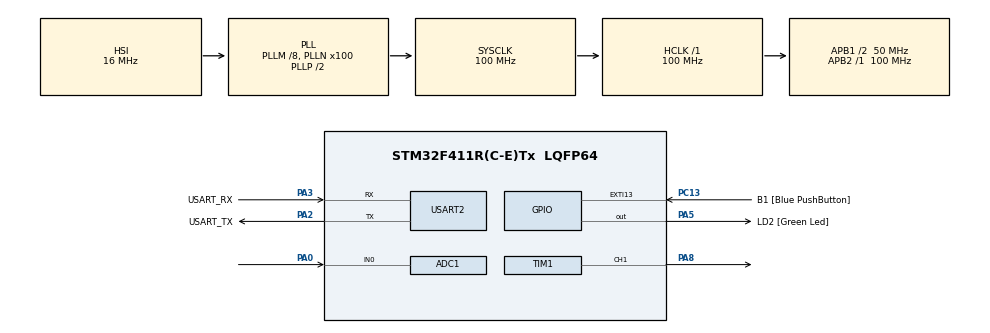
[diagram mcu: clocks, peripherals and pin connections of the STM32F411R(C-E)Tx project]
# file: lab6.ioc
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ADC1.Channel-0\#ChannelRegularConversion=ADC_CHANNEL_0
ADC1.DMAContinuousRequests=DISABLE
ADC1.ExternalTrigConv=ADC_EXTERNALTRIGCONV_T3_TRGO
ADC1.NbrOfConversionFlag=1
ADC1.Rank-0\#ChannelRegularConversion=1
ADC1.SamplingTime-0\#ChannelRegularConversion=ADC_SAMPLETIME_3CYCLES
ADC1.master=1
Dma.ADC1.0.Direction=DMA_PERIPH_TO_MEMORY
Dma.ADC1.0.FIFOMode=DMA_FIFOMODE_DISABLE
Dma.ADC1.0.Instance=DMA2_Stream0
Dma.ADC1.0.MemDataAlignment=DMA_MDATAALIGN_HALFWORD
Dma.ADC1.0.MemInc=DMA_MINC_ENABLE
Dma.ADC1.0.Mode=DMA_CIRCULAR
Dma.ADC1.0.PeriphDataAlignment=DMA_PDATAALIGN_HALFWORD
Dma.ADC1.0.PeriphInc=DMA_PINC_DISABLE
Dma.ADC1.0.Priority=DMA_PRIORITY_LOW
Dma.Request0=ADC1
Mcu.Family=STM32F4
Mcu.Name=STM32F411R(C-E)Tx
Mcu.Package=LQFP64
NVIC.ADC_IRQn=true\:0\:0\:false\:false\:true\:true\:true
NVIC.DMA2_Stream0_IRQn=true\:0\:0\:false\:false\:true\:false\:true
NVIC.PriorityGroup=NVIC_PRIORITYGROUP_0
PA0-WKUP.Signal=ADCx_IN0
PA13.GPIO_Label=TMS
PA13.Mode=Serial_Wire
PA13.Signal=SYS_JTMS-SWDIO
PA14.GPIO_Label=TCK
PA14.Mode=Serial_Wire
PA14.Signal=SYS_JTCK-SWCLK
PA2.GPIO_Label=USART_TX
PA2.Mode=Asynchronous
PA2.Signal=USART2_TX
PA3.GPIO_Label=USART_RX
PA3.Mode=Asynchronous
PA3.Signal=USART2_RX
PA5.GPIO_Label=LD2 [Green Led]
PA5.Signal=GPIO_Output
PA8.Signal=S_TIM1_CH1
PB3.GPIO_Label=SWO
PB3.Signal=SYS_JTDO-SWO
PC13-ANTI_TAMP.GPIO_Label=B1 [Blue PushButton]
PC13-ANTI_TAMP.GPIO_ModeDefaultEXTI=GPIO_MODE_IT_FALLING
PC13-ANTI_TAMP.Signal=GPXTI13
PC14-OSC32_IN.Mode=LSE-External-Oscillator
PC14-OSC32_IN.Signal=RCC_OSC32_IN
PC15-OSC32_OUT.Mode=LSE-External-Oscillator
PC15-OSC32_OUT.Signal=RCC_OSC32_OUT
PH0\ -\ OSC_IN.Mode=HSE-External-Clock-Source
PH0\ -\ OSC_IN.Signal=RCC_OSC_IN
PH1\ -\ OSC_OUT.Mode=HSE-External-Clock-Source
PH1\ -\ OSC_OUT.Signal=RCC_OSC_OUT
ProjectManager.HeapSize=0x200
ProjectManager.StackSize=0x400
ProjectManager.TargetToolchain=STM32CubeIDE
RCC.48MHZClocksFreq_Value=50000000
RCC.AHBFreq_Value=100000000
RCC.APB1CLKDivider=RCC_HCLK_DIV2
RCC.APB1Freq_Value=50000000
RCC.APB1TimFreq_Value=100000000
RCC.APB2Freq_Value=100000000
RCC.APB2TimFreq_Value=100000000
RCC.CortexFreq_Value=100000000
RCC.FLatency-AdvancedSettings=FLASH_LATENCY_3
RCC.HCLKFreq_Value=100000000
RCC.HSE_VALUE=8000000
RCC.HSI_VALUE=16000000
RCC.PLLM=8
RCC.PLLN=100
RCC.SYSCLKFreq_VALUE=100000000
RCC.SYSCLKSource=RCC_SYSCLKSOURCE_PLLCLK
RCC.VCOOutputFreq_Value=200000000
SH.ADCx_IN0.0=ADC1_IN0,IN0
SH.S_TIM1_CH1.0=TIM1_CH1,PWM Generation1 CH1
TIM1.Channel-PWM\ Generation1\ CH1=TIM_CHANNEL_1
TIM1.Period=10000
TIM11.Prescaler=99
TIM3.Period=1000
TIM3.Prescaler=99
TIM3.TIM_MasterOutputTrigger=TIM_TRGO_UPDATE
USART2.VirtualMode=VM_ASYNC
VP_TIM11_VS_ClockSourceINT.Mode=Enable_Timer
VP_TIM1_VS_ClockSourceINT.Mode=Internal
VP_TIM3_VS_ClockSourceINT.Mode=Internal
board=NUCLEO-F411RE

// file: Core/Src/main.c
/* USER CODE BEGIN Header */
/**
 ******************************************************************************
 * @file           : main.c
 * @brief          : Main program body
 ******************************************************************************
 * @attention
 *
 * <h2><center>&copy; Copyright (c) 2021 STMicroelectronics.
 * All rights reserved.</center></h2>
 *
 * This software component is licensed by ST under BSD 3-Clause license,
 * the "License"; You may not use this file except in compliance with the
 * License. You may obtain a copy of the License at:
 *                        opensource.org/licenses/BSD-3-Clause
 *
 ******************************************************************************
 */
/* USER CODE END Header */
#include "main.h"

ADC_HandleTypeDef hadc1;
DMA_HandleTypeDef hdma_adc1;

TIM_HandleTypeDef htim1;
TIM_HandleTypeDef htim3;
TIM_HandleTypeDef htim11;

UART_HandleTypeDef huart2;

/* USER CODE BEGIN PV */
uint8_t ADCUpdateFlag = 0;
uint16_t ADCFeedBack = 0;
float vout = 0.00;
float vin = 0.00;
uint16_t vv[2];
uint16_t PWMOut = 3000;

uint64_t _micro = 0;
uint64_t TimeOutputLoop = 0;
/* USER CODE END PV */

void SystemClock_Config(void);
static void MX_GPIO_Init(void);
static void MX_DMA_Init(void);
static void MX_USART2_UART_Init(void);
static void MX_ADC1_Init(void);
static void MX_TIM1_Init(void);
static void MX_TIM3_Init(void);
static void MX_TIM11_Init(void);
/* USER CODE BEGIN PFP */
uint64_t micros();
/* USER CODE END PFP */

int main(void)
{

  /* MCU Configuration--------------------------------------------------------*/

  /* Reset of all peripherals, Initializes the Flash interface and the Systick. */
  HAL_Init();

  /* Configure the system clock */
  SystemClock_Config();

  /* Initialize all configured peripherals */
  MX_GPIO_Init();
  MX_DMA_Init();
  MX_USART2_UART_Init();
  MX_ADC1_Init();
  MX_TIM1_Init();
  MX_TIM3_Init();
  MX_TIM11_Init();
  /* USER CODE BEGIN 2 */
	HAL_ADC_Start_IT(&hadc1);
	HAL_TIM_Base_Start(&htim3);

	HAL_TIM_Base_Start(&htim1);
	HAL_TIM_PWM_Start(&htim1, TIM_CHANNEL_1);

	HAL_TIM_Base_Start_IT(&htim11);
  /* USER CODE END 2 */

  /* Infinite loop */
	while (1) {

    /* USER CODE BEGIN 3 */

		if (micros() - TimeOutputLoop > 1000) {
			TimeOutputLoop = micros();
			// #001

			__HAL_TIM_SET_COMPARE(&htim1, TIM_CHANNEL_1, PWMOut);
			vout = 3.3 * ADCFeedBack * PWMOut / 40960000;
			if(vout!=1)
			{
				PWMOut = 40960000/(3.3*ADCFeedBack);
			}

		}
		if (ADCUpdateFlag) {
			ADCUpdateFlag = 0;
			//#002
		}

	}
  /* USER CODE END 3 */
}

void SystemClock_Config(void)
{
  RCC_OscInitTypeDef RCC_OscInitStruct = {0};
  RCC_ClkInitTypeDef RCC_ClkInitStruct = {0};

  /** Configure the main internal regulator output voltage
  */
  __HAL_RCC_PWR_CLK_ENABLE();
  __HAL_PWR_VOLTAGESCALING_CONFIG(PWR_REGULATOR_VOLTAGE_SCALE1);
  /** Initializes the RCC Oscillators according to the specified parameters
  * in the RCC_OscInitTypeDef structure.
  */
  RCC_OscInitStruct.OscillatorType = RCC_OSCILLATORTYPE_HSI;
  RCC_OscInitStruct.HSIState = RCC_HSI_ON;
  RCC_OscInitStruct.HSICalibrationValue = RCC_HSICALIBRATION_DEFAULT;
  RCC_OscInitStruct.PLL.PLLState = RCC_PLL_ON;
  RCC_OscInitStruct.PLL.PLLSource = RCC_PLLSOURCE_HSI;
  RCC_OscInitStruct.PLL.PLLM = 8;
  RCC_OscInitStruct.PLL.PLLN = 100;
  RCC_OscInitStruct.PLL.PLLP = RCC_PLLP_DIV2;
  RCC_OscInitStruct.PLL.PLLQ = 4;
  if (HAL_RCC_OscConfig(&RCC_OscInitStruct) != HAL_OK)
  {
    Error_Handler();
  }
  /** Initializes the CPU, AHB and APB buses clocks
  */
  RCC_ClkInitStruct.ClockType = RCC_CLOCKTYPE_HCLK|RCC_CLOCKTYPE_SYSCLK
                              |RCC_CLOCKTYPE_PCLK1|RCC_CLOCKTYPE_PCLK2;
  RCC_ClkInitStruct.SYSCLKSource = RCC_SYSCLKSOURCE_PLLCLK;
  RCC_ClkInitStruct.AHBCLKDivider = RCC_SYSCLK_DIV1;
  RCC_ClkInitStruct.APB1CLKDivider = RCC_HCLK_DIV2;
  RCC_ClkInitStruct.APB2CLKDivider = RCC_HCLK_DIV1;

  if (HAL_RCC_ClockConfig(&RCC_ClkInitStruct, FLASH_LATENCY_3) != HAL_OK)
  {
    Error_Handler();
  }
}

static void MX_ADC1_Init(void)
{

  ADC_ChannelConfTypeDef sConfig = {0};

  /** Configure the global features of the ADC (Clock, Resolution, Data Alignment and number of conversion)
  */
  hadc1.Instance = ADC1;
  hadc1.Init.ClockPrescaler = ADC_CLOCK_SYNC_PCLK_DIV4;
  hadc1.Init.Resolution = ADC_RESOLUTION_12B;
  hadc1.Init.ScanConvMode = DISABLE;
  hadc1.Init.ContinuousConvMode = DISABLE;
  hadc1.Init.DiscontinuousConvMode = DISABLE;
  hadc1.Init.ExternalTrigConvEdge = ADC_EXTERNALTRIGCONVEDGE_RISING;
  hadc1.Init.ExternalTrigConv = ADC_EXTERNALTRIGCONV_T3_TRGO;
  hadc1.Init.DataAlign = ADC_DATAALIGN_RIGHT;
  hadc1.Init.NbrOfConversion = 1;
  hadc1.Init.DMAContinuousRequests = DISABLE;
  hadc1.Init.EOCSelection = ADC_EOC_SINGLE_CONV;
  if (HAL_ADC_Init(&hadc1) != HAL_OK)
  {
    Error_Handler();
  }
  /** Configure for the selected ADC regular channel its corresponding rank in the sequencer and its sample time.
  */
  sConfig.Channel = ADC_CHANNEL_0;
  sConfig.Rank = 1;
  sConfig.SamplingTime = ADC_SAMPLETIME_3CYCLES;
  if (HAL_ADC_ConfigChannel(&hadc1, &sConfig) != HAL_OK)
  {
    Error_Handler();
  }

}

static void MX_TIM1_Init(void)
{

  TIM_ClockConfigTypeDef sClockSourceConfig = {0};
  TIM_MasterConfigTypeDef sMasterConfig = {0};
  TIM_OC_InitTypeDef sConfigOC = {0};
  TIM_BreakDeadTimeConfigTypeDef sBreakDeadTimeConfig = {0};

  htim1.Instance = TIM1;
  htim1.Init.Prescaler = 0;
  htim1.Init.CounterMode = TIM_COUNTERMODE_UP;
  htim1.Init.Period = 10000;
  htim1.Init.ClockDivision = TIM_CLOCKDIVISION_DIV1;
  htim1.Init.RepetitionCounter = 0;
  htim1.Init.AutoReloadPreload = TIM_AUTORELOAD_PRELOAD_DISABLE;
  if (HAL_TIM_Base_Init(&htim1) != HAL_OK)
  {
    Error_Handler();
  }
  sClockSourceConfig.ClockSource = TIM_CLOCKSOURCE_INTERNAL;
  if (HAL_TIM_ConfigClockSource(&htim1, &sClockSourceConfig) != HAL_OK)
  {
    Error_Handler();
  }
  if (HAL_TIM_PWM_Init(&htim1) != HAL_OK)
  {
    Error_Handler();
  }
  sMasterConfig.MasterOutputTrigger = TIM_TRGO_RESET;
  sMasterConfig.MasterSlaveMode = TIM_MASTERSLAVEMODE_DISABLE;
  if (HAL_TIMEx_MasterConfigSynchronization(&htim1, &sMasterConfig) != HAL_OK)
  {
    Error_Handler();
  }
  sConfigOC.OCMode = TIM_OCMODE_PWM1;
  sConfigOC.Pulse = 0;
  sConfigOC.OCPolarity = TIM_OCPOLARITY_HIGH;
  sConfigOC.OCNPolarity = TIM_OCNPOLARITY_HIGH;
  sConfigOC.OCFastMode = TIM_OCFAST_DISABLE;
  sConfigOC.OCIdleState = TIM_OCIDLESTATE_RESET;
  sConfigOC.OCNIdleState = TIM_OCNIDLESTATE_RESET;
  if (HAL_TIM_PWM_ConfigChannel(&htim1, &sConfigOC, TIM_CHANNEL_1) != HAL_OK)
  {
    Error_Handler();
  }
  sBreakDeadTimeConfig.OffStateRunMode = TIM_OSSR_DISABLE;
  sBreakDeadTimeConfig.OffStateIDLEMode = TIM_OSSI_DISABLE;
  sBreakDeadTimeConfig.LockLevel = TIM_LOCKLEVEL_OFF;
  sBreakDeadTimeConfig.DeadTime = 0;
  sBreakDeadTimeConfig.BreakState = TIM_BREAK_DISABLE;
  sBreakDeadTimeConfig.BreakPolarity = TIM_BREAKPOLARITY_HIGH;
  sBreakDeadTimeConfig.AutomaticOutput = TIM_AUTOMATICOUTPUT_DISABLE;
  if (HAL_TIMEx_ConfigBreakDeadTime(&htim1, &sBreakDeadTimeConfig) != HAL_OK)
  {
    Error_Handler();
  }
  HAL_TIM_MspPostInit(&htim1);

}

static void MX_TIM3_Init(void)
{

  TIM_ClockConfigTypeDef sClockSourceConfig = {0};
  TIM_MasterConfigTypeDef sMasterConfig = {0};

  htim3.Instance = TIM3;
  htim3.Init.Prescaler = 99;
  htim3.Init.CounterMode = TIM_COUNTERMODE_UP;
  htim3.Init.Period = 1000;
  htim3.Init.ClockDivision = TIM_CLOCKDIVISION_DIV1;
  htim3.Init.AutoReloadPreload = TIM_AUTORELOAD_PRELOAD_DISABLE;
  if (HAL_TIM_Base_Init(&htim3) != HAL_OK)
  {
    Error_Handler();
  }
  sClockSourceConfig.ClockSource = TIM_CLOCKSOURCE_INTERNAL;
  if (HAL_TIM_ConfigClockSource(&htim3, &sClockSourceConfig) != HAL_OK)
  {
    Error_Handler();
  }
  sMasterConfig.MasterOutputTrigger = TIM_TRGO_UPDATE;
  sMasterConfig.MasterSlaveMode = TIM_MASTERSLAVEMODE_DISABLE;
  if (HAL_TIMEx_MasterConfigSynchronization(&htim3, &sMasterConfig) != HAL_OK)
  {
    Error_Handler();
  }

}

static void MX_TIM11_Init(void)
{

  htim11.Instance = TIM11;
  htim11.Init.Prescaler = 99;
  htim11.Init.CounterMode = TIM_COUNTERMODE_UP;
  htim11.Init.Period = 65535;
  htim11.Init.ClockDivision = TIM_CLOCKDIVISION_DIV1;
  htim11.Init.AutoReloadPreload = TIM_AUTORELOAD_PRELOAD_DISABLE;
  if (HAL_TIM_Base_Init(&htim11) != HAL_OK)
  {
    Error_Handler();
  }

}

static void MX_USART2_UART_Init(void)
{

  huart2.Instance = USART2;
  huart2.Init.BaudRate = 115200;
  huart2.Init.WordLength = UART_WORDLENGTH_8B;
  huart2.Init.StopBits = UART_STOPBITS_1;
  huart2.Init.Parity = UART_PARITY_NONE;
  huart2.Init.Mode = UART_MODE_TX_RX;
  huart2.Init.HwFlowCtl = UART_HWCONTROL_NONE;
  huart2.Init.OverSampling = UART_OVERSAMPLING_16;
  if (HAL_UART_Init(&huart2) != HAL_OK)
  {
    Error_Handler();
  }

}

static void MX_DMA_Init(void)
{

  /* DMA controller clock enable */
  __HAL_RCC_DMA2_CLK_ENABLE();

  /* DMA interrupt init */
  /* DMA2_Stream0_IRQn interrupt configuration */
  HAL_NVIC_SetPriority(DMA2_Stream0_IRQn, 0, 0);
  HAL_NVIC_EnableIRQ(DMA2_Stream0_IRQn);

}

static void MX_GPIO_Init(void)
{
  GPIO_InitTypeDef GPIO_InitStruct = {0};

  /* GPIO Ports Clock Enable */
  __HAL_RCC_GPIOC_CLK_ENABLE();
  __HAL_RCC_GPIOH_CLK_ENABLE();
  __HAL_RCC_GPIOA_CLK_ENABLE();
  __HAL_RCC_GPIOB_CLK_ENABLE();

  /*Configure GPIO pin Output Level */
  HAL_GPIO_WritePin(LD2_GPIO_Port, LD2_Pin, GPIO_PIN_RESET);

  /*Configure GPIO pin : B1_Pin */
  GPIO_InitStruct.Pin = B1_Pin;
  GPIO_InitStruct.Mode = GPIO_MODE_IT_FALLING;
  GPIO_InitStruct.Pull = GPIO_NOPULL;
  HAL_GPIO_Init(B1_GPIO_Port, &GPIO_InitStruct);

  /*Configure GPIO pin : LD2_Pin */
  GPIO_InitStruct.Pin = LD2_Pin;
  GPIO_InitStruct.Mode = GPIO_MODE_OUTPUT_PP;
  GPIO_InitStruct.Pull = GPIO_NOPULL;
  GPIO_InitStruct.Speed = GPIO_SPEED_FREQ_LOW;
  HAL_GPIO_Init(LD2_GPIO_Port, &GPIO_InitStruct);

}

/* USER CODE BEGIN 4 */
void HAL_ADC_ConvCpltCallback(ADC_HandleTypeDef *hadc) {
	ADCFeedBack = HAL_ADC_GetValue(&hadc1);
	ADCUpdateFlag = 1;
}
void HAL_TIM_PeriodElapsedCallback(TIM_HandleTypeDef *htim) {
	if (htim == &htim11) {
		_micro += 65535;
	}
}

__inline__ uint64_t micros() {
	return _micro + htim11.Instance->CNT;
}
/* USER CODE END 4 */

void Error_Handler(void)
{
	__disable_irq();
	while (1) {
	}
}

/************************ (C) COPYRIGHT STMicroelectronics *****END OF FILE****/
